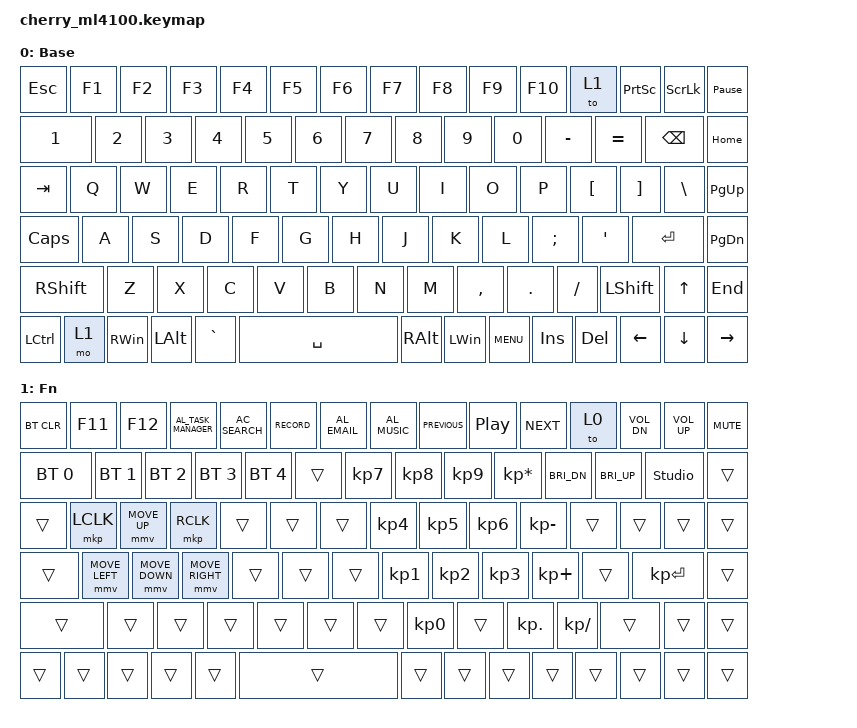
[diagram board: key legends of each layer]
// Generate by https://nickcoutsos.github.io/keymap-editor/

#include <behaviors.dtsi>
#include <dt-bindings/zmk/bt.h>
#include <dt-bindings/zmk/keys.h>
#include <dt-bindings/zmk/pointing.h>

/ {
    keymap {
        compatible = "zmk,keymap";

        base_layer {
            display-name = "Base";
            bindings = <
&kp ESC  &kp F1  &kp F2  &kp F3  &kp F4  &kp F5  &kp F6  &kp F7  &kp F8  &kp F9  &kp F10  &to 1  &kp PSCRN  &kp SLCK  &kp PAUSE_BREAK  &kp NUMBER_1  &kp NUMBER_2  &kp NUMBER_3  &kp NUMBER_4  &kp NUMBER_5  &kp NUMBER_6  &kp NUMBER_7  &kp NUMBER_8  &kp NUMBER_9  &kp NUMBER_0  &kp MINUS  &kp EQUAL  &kp BSPC  &kp HOME  &kp TAB  &kp Q  &kp W  &kp E  &kp R  &kp T  &kp Y  &kp U  &kp I  &kp O  &kp P  &kp LBKT  &kp RBKT  &kp BSLH  &kp PG_UP  &kp CAPS  &kp A  &kp S  &kp D  &kp F  &kp G  &kp H  &kp J  &kp K  &kp L  &kp SEMI  &kp SQT  &kp ENTER  &kp PG_DN  &kp RSHFT  &kp Z  &kp X  &kp C  &kp V  &kp B  &kp N  &kp M  &kp COMMA  &kp PERIOD  &kp SLASH  &kp LSHFT  &kp UP  &kp END  &kp LCTRL  &mo 1  &kp RIGHT_WIN  &kp LEFT_ALT  &kp GRAVE  &kp SPACE  &kp RIGHT_ALT  &kp LEFT_WIN  &kp K_MENU  &kp INS  &kp DEL  &kp LEFT  &kp DOWN  &kp RIGHT
            >;
        };

        fn_layer {
            display-name = "Fn";
            bindings = <
&bt BT_CLR  &kp F11  &kp F12  &kp C_AL_TASK_MANAGER  &kp C_AC_SEARCH  &kp C_RECORD  &kp C_AL_EMAIL  &kp C_AL_MUSIC  &kp C_PREVIOUS  &kp C_PLAY_PAUSE  &kp C_NEXT  &to 0  &kp C_VOL_DN  &kp C_VOL_UP  &kp K_MUTE  &bt BT_SEL 0  &bt BT_SEL 1  &bt BT_SEL 2  &bt BT_SEL 3  &bt BT_SEL 4  &trans  &kp KP_N7  &kp KP_N8  &kp KP_N9  &kp KP_ASTERISK  &kp C_BRI_DN  &kp C_BRI_UP  &studio_unlock  &trans  &trans  &mkp LCLK  &mmv MOVE_UP  &mkp RCLK  &trans  &trans  &trans  &kp KP_N4  &kp KP_N5  &kp KP_N6  &kp KP_MINUS  &trans  &trans  &trans  &trans  &trans  &mmv MOVE_LEFT  &mmv MOVE_DOWN  &mmv MOVE_RIGHT  &trans  &trans  &trans  &kp KP_N1  &kp KP_N2  &kp KP_N3  &kp KP_PLUS  &trans  &kp KP_ENTER  &trans  &trans  &trans  &trans  &trans  &trans  &trans  &trans  &kp KP_N0  &trans  &kp KP_DOT  &kp KP_SLASH  &trans  &trans  &trans  &trans  &trans  &trans  &trans  &trans  &trans  &trans  &trans  &trans  &trans  &trans  &trans  &trans  &trans
            >;
        };

        extra_layer_1 {
            status =  "reserved";
        };

        extra_layer_2 {
            status =  "reserved";
        };
    };
};
